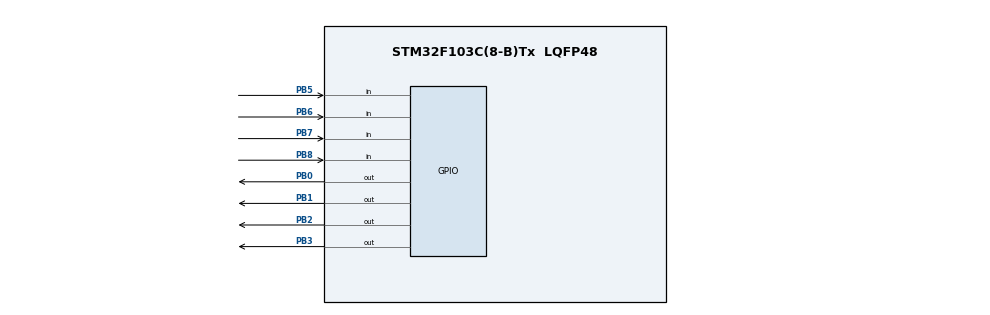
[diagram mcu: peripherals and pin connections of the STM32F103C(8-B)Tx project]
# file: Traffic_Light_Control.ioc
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Mcu.Family=STM32F1
Mcu.Name=STM32F103C(8-B)Tx
Mcu.Package=LQFP48
NVIC.PriorityGroup=NVIC_PRIORITYGROUP_4
PB0.Signal=GPIO_Output
PB1.Signal=GPIO_Output
PB10.Signal=I2C2_SCL
PB11.Signal=I2C2_SDA
PB2.Signal=GPIO_Output
PB3.Signal=GPIO_Output
PB5.GPIO_PuPd=GPIO_PULLUP
PB5.Signal=GPIO_Input
PB6.GPIO_PuPd=GPIO_PULLUP
PB6.Signal=GPIO_Input
PB7.GPIO_PuPd=GPIO_PULLUP
PB7.Signal=GPIO_Input
PB8.GPIO_PuPd=GPIO_PULLUP
PB8.Signal=GPIO_Input
ProjectManager.HeapSize=0x200
ProjectManager.StackSize=0x400
ProjectManager.TargetToolchain=STM32CubeIDE
RCC.APB1Freq_Value=8000000
RCC.APB2Freq_Value=8000000
board=custom

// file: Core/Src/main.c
/* USER CODE BEGIN Header */
/**
  ******************************************************************************
  * @file           : main.c
  * @brief          : Main program body
  ******************************************************************************
  * @attention
  *
  * Copyright (c) 2025 STMicroelectronics.
  * All rights reserved.
  *
  * This software is licensed under terms that can be found in the LICENSE file
  * in the root directory of this software component.
  * If no LICENSE file comes with this software, it is provided AS-IS.
  *
  ******************************************************************************
  */
/* USER CODE END Header */
#include "main.h"

/* USER CODE BEGIN PTD */
typedef enum {
	LIGHT_TRAFFIC_MODE,
	HEAVY_TRAFFIC_MODE,
	CONTROL_MODE,
	NIGHT_MODE
} TrafficLightMode;
/* USER CODE END PTD */

/* USER CODE BEGIN PV */
TrafficLightMode currentMode = LIGHT_TRAFFIC_MODE;
/* USER CODE END PV */

void SystemClock_Config(void);
static void MX_GPIO_Init(void);
/* USER CODE BEGIN PFP */
uint8_t isButtonPressed(GPIO_TypeDef *GPIOx, uint16_t GPIO_Pin);
void updateState(void);
void switchToLightTrafficMode(void);
void switchToHeavyTrafficMode(void);
void switchToControlMode(void);
void switchToNightMode(void);
/* USER CODE END PFP */

int main(void)
{

  /* MCU Configuration--------------------------------------------------------*/

  /* Reset of all peripherals, Initializes the Flash interface and the Systick. */
  HAL_Init();

  /* Configure the system clock */
  SystemClock_Config();

  /* Initialize all configured peripherals */
  MX_GPIO_Init();
  /* USER CODE BEGIN 2 */
  switchToLightTrafficMode();
  /* USER CODE END 2 */

  /* Infinite loop */
  /* USER CODE BEGIN WHILE */
  while (1)
  {
	  updateState();
    /* USER CODE END WHILE */

  }
}

void SystemClock_Config(void)
{
  RCC_OscInitTypeDef RCC_OscInitStruct = {0};
  RCC_ClkInitTypeDef RCC_ClkInitStruct = {0};

  /** Initializes the RCC Oscillators according to the specified parameters
  * in the RCC_OscInitTypeDef structure.
  */
  RCC_OscInitStruct.OscillatorType = RCC_OSCILLATORTYPE_HSI;
  RCC_OscInitStruct.HSIState = RCC_HSI_ON;
  RCC_OscInitStruct.HSICalibrationValue = RCC_HSICALIBRATION_DEFAULT;
  RCC_OscInitStruct.PLL.PLLState = RCC_PLL_NONE;
  if (HAL_RCC_OscConfig(&RCC_OscInitStruct) != HAL_OK)
  {
    Error_Handler();
  }

  /** Initializes the CPU, AHB and APB buses clocks
  */
  RCC_ClkInitStruct.ClockType = RCC_CLOCKTYPE_HCLK|RCC_CLOCKTYPE_SYSCLK
                              |RCC_CLOCKTYPE_PCLK1|RCC_CLOCKTYPE_PCLK2;
  RCC_ClkInitStruct.SYSCLKSource = RCC_SYSCLKSOURCE_HSI;
  RCC_ClkInitStruct.AHBCLKDivider = RCC_SYSCLK_DIV1;
  RCC_ClkInitStruct.APB1CLKDivider = RCC_HCLK_DIV1;
  RCC_ClkInitStruct.APB2CLKDivider = RCC_HCLK_DIV1;

  if (HAL_RCC_ClockConfig(&RCC_ClkInitStruct, FLASH_LATENCY_0) != HAL_OK)
  {
    Error_Handler();
  }
}

static void MX_GPIO_Init(void)
{
  GPIO_InitTypeDef GPIO_InitStruct = {0};

  /* GPIO Ports Clock Enable */
  __HAL_RCC_GPIOB_CLK_ENABLE();

  /*Configure GPIO pin Output Level */
  HAL_GPIO_WritePin(GPIOB, GPIO_PIN_0|GPIO_PIN_1|GPIO_PIN_2|GPIO_PIN_3, GPIO_PIN_RESET);

  /*Configure GPIO pins : PB0 PB1 PB2 PB3 */
  GPIO_InitStruct.Pin = GPIO_PIN_0|GPIO_PIN_1|GPIO_PIN_2|GPIO_PIN_3;
  GPIO_InitStruct.Mode = GPIO_MODE_OUTPUT_PP;
  GPIO_InitStruct.Pull = GPIO_NOPULL;
  GPIO_InitStruct.Speed = GPIO_SPEED_FREQ_LOW;
  HAL_GPIO_Init(GPIOB, &GPIO_InitStruct);

  /*Configure GPIO pins : PB10 PB11 */
  GPIO_InitStruct.Pin = GPIO_PIN_10|GPIO_PIN_11;
  GPIO_InitStruct.Mode = GPIO_MODE_AF_OD;
  GPIO_InitStruct.Speed = GPIO_SPEED_FREQ_HIGH;
  HAL_GPIO_Init(GPIOB, &GPIO_InitStruct);

  /*Configure GPIO pins : PB5 PB6 PB7 PB8 */
  GPIO_InitStruct.Pin = GPIO_PIN_5|GPIO_PIN_6|GPIO_PIN_7|GPIO_PIN_8;
  GPIO_InitStruct.Mode = GPIO_MODE_INPUT;
  GPIO_InitStruct.Pull = GPIO_PULLUP;
  HAL_GPIO_Init(GPIOB, &GPIO_InitStruct);

}

/* USER CODE BEGIN 4 */

/*uint8_t isButtonPressed(GPIO_TypeDef *GPIOx, uint16_t GPIO_Pin)
{
    if (HAL_GPIO_ReadPin(GPIOx, GPIO_Pin) == GPIO_PIN_RESET)
    {
        HAL_Delay(50);  // Thời gian debounce 50ms
        if (HAL_GPIO_ReadPin(GPIOx, GPIO_Pin) == GPIO_PIN_RESET)
        {
            // Đợi cho đến khi nút được thả ra
            while(HAL_GPIO_ReadPin(GPIOx, GPIO_Pin) == GPIO_PIN_RESET);
            return 1;
        }
    }
    return 0;
}*/

uint8_t isButtonPressed(GPIO_TypeDef *GPIOx, uint16_t GPIO_Pin)
{
    static uint32_t lastDebounceTime = 0;
    uint32_t debounceDelay = 50; // Thời gian debounce 50ms

    if (HAL_GPIO_ReadPin(GPIOx, GPIO_Pin) == GPIO_PIN_RESET)
    {
        uint32_t currentTime = HAL_GetTick();
        if ((currentTime - lastDebounceTime) >= debounceDelay)
        {
            lastDebounceTime = currentTime;
            // Đợi cho đến khi nút được thả ra
            while (HAL_GPIO_ReadPin(GPIOx, GPIO_Pin) == GPIO_PIN_RESET);
            return 1;
        }
    }
    return 0;
}

void updateState(void)
{
    if (isButtonPressed(GPIOB, GPIO_PIN_5))
    {
        switchToLightTrafficMode();
    }
    else if (isButtonPressed(GPIOB, GPIO_PIN_6))
    {
        switchToHeavyTrafficMode();
    }
    else if (isButtonPressed(GPIOB, GPIO_PIN_7))
    {
        switchToNightMode();
    }
    else if (isButtonPressed(GPIOB, GPIO_PIN_8))
    {
        switchToControlMode();
    }
}

void switchToLightTrafficMode(void)
{
    currentMode = LIGHT_TRAFFIC_MODE;
    HAL_GPIO_WritePin(GPIOB, GPIO_PIN_0, GPIO_PIN_SET);    // Bật LED cho LIGHT_TRAFFIC_MODE (PB0)
    HAL_GPIO_WritePin(GPIOB, GPIO_PIN_1|GPIO_PIN_2|GPIO_PIN_3, GPIO_PIN_RESET);
}

void switchToHeavyTrafficMode(void)
{
    currentMode = HEAVY_TRAFFIC_MODE;
    HAL_GPIO_WritePin(GPIOB, GPIO_PIN_1, GPIO_PIN_SET);    // Bật LED cho HEAVY_TRAFFIC_MODE (PB1)
    HAL_GPIO_WritePin(GPIOB, GPIO_PIN_0|GPIO_PIN_2|GPIO_PIN_3, GPIO_PIN_RESET);
}

void switchToNightMode(void)
{
    currentMode = NIGHT_MODE;
    HAL_GPIO_WritePin(GPIOB, GPIO_PIN_2, GPIO_PIN_SET);    // Bật LED cho NIGHT_MODE (PB3)
    HAL_GPIO_WritePin(GPIOB, GPIO_PIN_0|GPIO_PIN_1|GPIO_PIN_3, GPIO_PIN_RESET);
}

void switchToControlMode(void)
{
    currentMode = CONTROL_MODE;
    HAL_GPIO_WritePin(GPIOB, GPIO_PIN_3, GPIO_PIN_SET);    // Bật LED cho CONTROL_MODE (PB2)
    HAL_GPIO_WritePin(GPIOB, GPIO_PIN_0|GPIO_PIN_1|GPIO_PIN_2, GPIO_PIN_RESET);
}
/* USER CODE END 4 */

void Error_Handler(void)
{
  __disable_irq();
  while (1)
  {
  }
}
